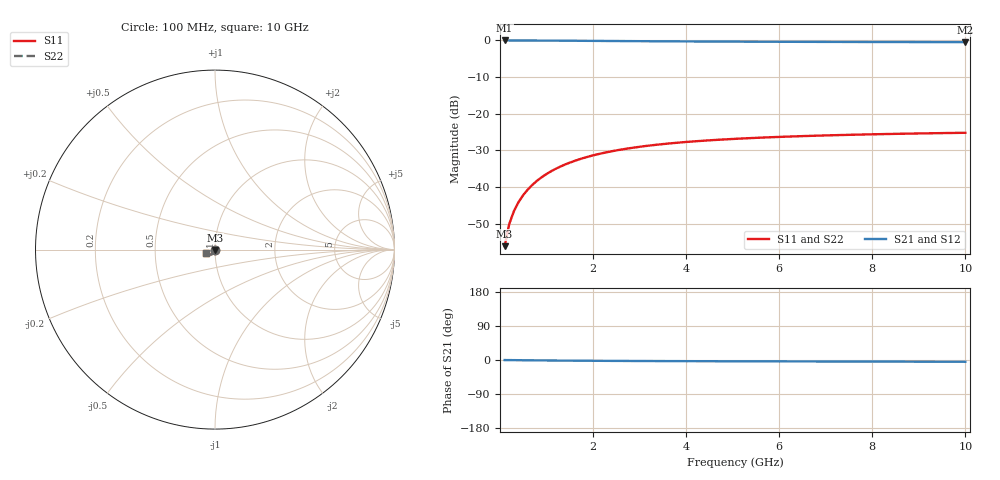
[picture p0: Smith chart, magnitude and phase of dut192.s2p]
! Touchstone file exported from HFSS 2024.1.0
!  File:  C:/UserFiles/LocalFiles/RDL_TSV_Batchsim/temp_TSV1_192_1779385192.aedt
!  Generated:  01:43:39 AM May 22, 2026
!  Design:  TSV1
!  Project:  temp_TSV1_192_1779385192
!  Setup:  Setup1
!  Solution:  Sweep
! Variables:
!  dtsv = 14.02um
!  hbump = 3um
!  htsv = 69.97um
!  lrdl = 252.1521522um
!  p = 40
!  p1 = 47.94um
!  t = 500um
!  trdl = 3um
!  wrdl = 24.89489489um
# GHz S MA R 50.000000
! Terminal data exported
! Port[1] = TSV22_T1
! Port[2] = TSV22_T2
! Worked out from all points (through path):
!   100 points, 100 MHz to 10 GHz, reference 50 ohm
!   highest |S21| = 0.00 dB at 100 MHz (marker M1); lowest = -0.5 dB at 10 GHz (marker M2)
!   lowest |S11| = -56.1 dB at 100 MHz (marker M3), VSWR 1.00, Z = 50 - j0.156 ohm
!   |S11| at or under -10 dB: start of sweep to end of sweep
!   |S22| runs from -56.1 to -25.2 dB; largest |S21 - S12| = 3.2e-15
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0.1  0.001561 -88.8  0.9999 -0.1  0.9999 -0.1  0.001561 -88.8
! Gamma 0 0 0 0
! Port Impedance 50 0 50 0
0.2  0.003134 -92.0  0.9997 -0.3  0.9997 -0.3  0.003134 -92.0
0.3  0.004696 -94.1  0.9995 -0.4  0.9995 -0.4  0.004696 -94.1
0.4  0.006244 -96.0  0.9992 -0.5  0.9992 -0.5  0.006244 -96.0
0.5  0.007776 -97.7  0.9988 -0.6  0.9988 -0.6  0.007776 -97.7
0.6  0.009287 -99.4  0.9983 -0.7  0.9983 -0.7  0.009287 -99.4
0.7  0.01077 -101.1  0.9977 -0.9  0.9977 -0.9  0.01077 -101.1
0.8  0.01223 -102.7  0.9971 -1.0  0.9971 -1.0  0.01223 -102.7
0.9  0.01366 -104.3  0.9964 -1.1  0.9964 -1.1  0.01366 -104.3
1.1  0.01643 -107.4  0.9948 -1.3  0.9948 -1.3  0.01643 -107.4
1.4  0.02031 -111.7  0.9922 -1.6  0.9922 -1.6  0.02031 -111.7
1.6  0.0227 -114.5  0.9904 -1.8  0.9904 -1.8  0.0227 -114.5
1.8  0.02494 -117.1  0.9884 -1.9  0.9884 -1.9  0.02494 -117.1
2.1  0.02802 -120.7  0.9856 -2.1  0.9856 -2.1  0.02802 -120.7
2.5  0.03162 -125.1  0.9818 -2.4  0.9818 -2.4  0.03162 -125.1
2.9  0.03471 -128.9  0.9783 -2.6  0.9783 -2.6  0.03471 -128.9
3.4  0.03797 -133.2  0.9742 -2.8  0.9742 -2.8  0.03797 -133.2
4.2  0.04211 -138.8  0.9685 -3.1  0.9685 -3.1  0.04211 -138.8
5.1  0.04562 -143.8  0.9633 -3.4  0.9633 -3.4  0.04562 -143.8
6.7  0.04998 -150.6  0.9565 -3.8  0.9565 -3.8  0.04998 -150.6
8.4  0.05302 -155.9  0.9516 -4.3  0.9516 -4.3  0.05302 -155.9
10  0.05499 -159.8  0.9483 -4.7  0.9483 -4.7  0.05499 -159.8
